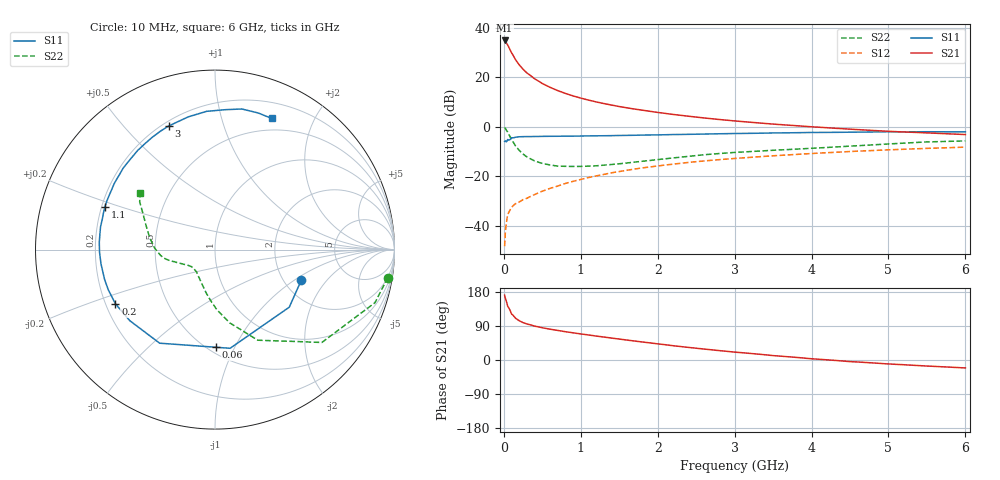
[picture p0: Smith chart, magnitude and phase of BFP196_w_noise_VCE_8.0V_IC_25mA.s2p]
! (c) 2017  Infineon Technologies AG, Munich
! Infineon Technologies  Discrete & RF Semiconductors
! BFP196
! VCE =  8.0 V,  IC =  25 mA
! Common Emitter S-Parameters:  Jan 2017
# GHz  S  MA  R  50
!  f  S11  S21  S12  S22
! GHz  MAG  ANG  MAG  ANG  MAG  ANG  MAG  ANG
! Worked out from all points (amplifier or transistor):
!   77 points, 10 MHz to 6 GHz, reference 50 ohm
!   highest |S21| = 34.9 dB at 10 MHz (marker M1)
!   |S21| within 3 dB of that: start of sweep to 69.04 MHz
!   unconditionally stable (mu >= 1): 709.5 MHz to 2.382 GHz
!   at 130 MHz: K = 0.42, MSG = 30.0 dB, |S12| = -31.6 dB
!   at 2.2 GHz: K = 1.01, MAG = 9.4 dB, |S12| = -15.1 dB
!   at 6 GHz: K = 0.92, MSG = 2.5 dB, |S12| = -8.2 dB
!   lowest NFmin = 1.15 dB at 450 MHz
!   S11 on the Smith chart (normalised r, x): 10 MHz: 2.49, -1.14; 60 MHz: 0.55, -0.85; 200 MHz: 0.24, -0.24; 1.1 GHz: 0.21, +0.18; 3 GHz: 0.22, +0.67; 6 GHz: 0.36, +1.46
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0.01  0.5104 -19.3  55.68 171.0  0.0039 80.5  0.9755 -9.2
0.02  0.5236 -37.8  54.49 162.9  0.0077 79.9  0.9389 -18.4
0.05  0.5562 -81.3  45.17 142.0  0.0168 60.7  0.7887 -41.0
0.06  0.5442 -89.4  42.09 139.0  0.0181 57.9  0.7346 -44.5
0.1  0.6059 -120.6  31.49 121.5  0.0238 50.0  0.5583 -64.7
0.15  0.6183 -140.2  22.99 110.5  0.028 47.0  0.4168 -78.6
0.2  0.6316 -151.4  17.92 103.6  0.0304 46.9  0.3355 -88.2
0.25  0.6354 -159.4  14.6 98.6  0.034 48.0  0.2828 -95.2
0.3  0.6373 -164.9  12.29 95.1  0.0362 50.0  0.247 -101.4
0.4  0.6401 -172.8  9.359 89.4  0.043 53.8  0.2053 -110.6
0.5  0.6436 -178.8  7.523 85.1  0.0503 56.2  0.183 -118.2
0.6  0.646 176.3  6.306 81.3  0.0572 57.5  0.1703 -124.6
0.7  0.647 172.4  5.412 78.1  0.0639 59.2  0.1614 -129.2
0.9  0.6502 165.2  4.221 71.7  0.0795 59.9  0.1589 -136.9
1.1  0.6582 158.7  3.482 66.1  0.0948 59.8  0.1612 -142.8
1.5  0.6711 146.9  2.578 55.3  0.1254 57.5  0.1801 -151.9
2.1  0.6944 130.6  1.871 40.3  0.1697 51.6  0.2272 -161.9
3  0.7354 110.6  1.32 20.8  0.2304 41.2  0.3052 -174.0
3.1  0.7377 108.7  1.282 19.2  0.2363 40.0  0.3111 -175.6
4.1  0.7727 91.9  0.984 1.9  0.2954 28.6  0.3767 167.7
5.1  0.7969 77.9  0.802 -11.5  0.3487 17.1  0.461 151.8
6  0.7962 66.7  0.7 -21.0  0.3903 6.9  0.522 143.0
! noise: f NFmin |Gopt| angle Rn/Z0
0.45  1.15  0.34  164  0.05
0.9  1.34  0.45  -176  0.06
1.9  2.21  0.68  -136  0.24
2.4  2.64  0.71  -122  0.59
